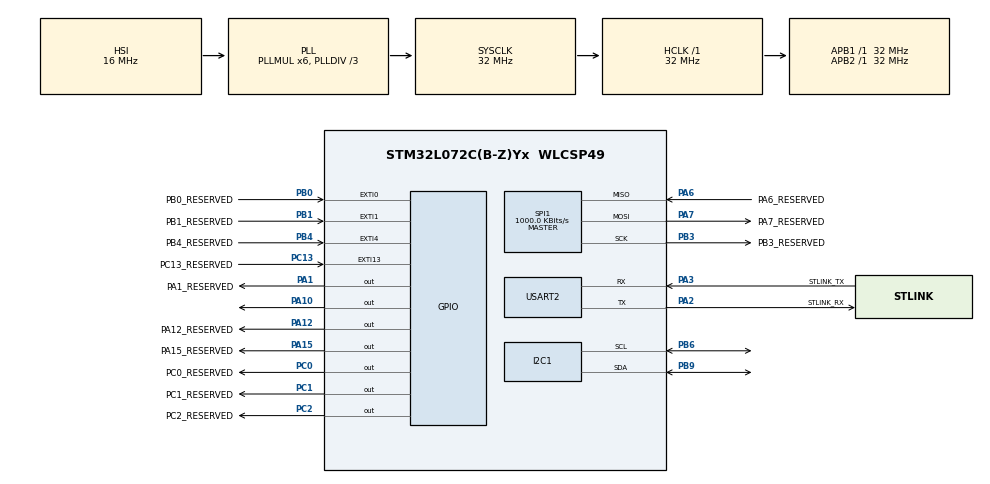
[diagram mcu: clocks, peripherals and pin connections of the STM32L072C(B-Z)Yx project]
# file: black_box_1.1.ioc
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Dma.I2C1_RX.0.Direction=DMA_PERIPH_TO_MEMORY
Dma.I2C1_RX.0.Instance=DMA1_Channel3
Dma.I2C1_RX.0.MemDataAlignment=DMA_MDATAALIGN_BYTE
Dma.I2C1_RX.0.MemInc=DMA_MINC_ENABLE
Dma.I2C1_RX.0.Mode=DMA_NORMAL
Dma.I2C1_RX.0.PeriphDataAlignment=DMA_PDATAALIGN_BYTE
Dma.I2C1_RX.0.PeriphInc=DMA_PINC_DISABLE
Dma.I2C1_RX.0.Priority=DMA_PRIORITY_MEDIUM
Dma.Request0=I2C1_RX
FREERTOS.BinarySemaphores01=sem1,Dynamic,NULL,Depleted
FREERTOS.Tasks01=calculateTask,24,512,Calculate,Default,NULL,Dynamic,NULL,NULL
I2C1.Timing=0x00B07CB4
Mcu.Family=STM32L0
Mcu.Name=STM32L072C(B-Z)Yx
Mcu.Package=WLCSP49
NVIC.DMA1_Channel2_3_IRQn=true\:3\:0\:false\:false\:true\:true\:false\:true\:true
NVIC.EXTI0_1_IRQn=true\:3\:0\:false\:false\:true\:true\:true\:true\:true
NVIC.EXTI4_15_IRQn=true\:3\:0\:false\:false\:true\:true\:true\:true\:true
NVIC.I2C1_IRQn=true\:3\:0\:false\:false\:true\:true\:true\:true\:true
NVIC.RTC_IRQn=true\:3\:0\:false\:false\:true\:true\:true\:true\:true
NVIC.TIM7_IRQn=true\:3\:0\:false\:false\:true\:false\:false\:true\:true
NVIC.TimeBase=TIM7_IRQn
NVIC.TimeBaseIP=TIM7
NVIC.USART2_IRQn=true\:3\:0\:false\:false\:true\:true\:true\:true\:true
PA1.GPIO_Label=PA1_RESERVED
PA1.GPIO_Speed=GPIO_SPEED_FREQ_HIGH
PA1.PinState=GPIO_PIN_RESET
PA1.Signal=GPIO_Output
PA10.Signal=GPIO_Output
PA12.GPIO_Label=PA12_RESERVED
PA12.GPIO_Speed=GPIO_SPEED_FREQ_HIGH
PA12.Signal=GPIO_Output
PA15.GPIO_Label=PA15_RESERVED
PA15.GPIO_Speed=GPIO_SPEED_FREQ_HIGH
PA15.Signal=GPIO_Output
PA2.GPIO_Label=STLINK_RX
PA2.Mode=Asynchronous
PA2.Signal=USART2_TX
PA3.GPIO_Label=STLINK_TX
PA3.Mode=Asynchronous
PA3.Signal=USART2_RX
PA6.GPIO_Label=PA6_RESERVED
PA6.Mode=Full_Duplex_Master
PA6.Signal=SPI1_MISO
PA7.GPIO_Label=PA7_RESERVED
PA7.Mode=Full_Duplex_Master
PA7.Signal=SPI1_MOSI
PB0.GPIO_Label=PB0_RESERVED
PB0.Signal=GPXTI0
PB1.GPIO_Label=PB1_RESERVED
PB1.Signal=GPXTI1
PB3.GPIO_Label=PB3_RESERVED
PB3.Mode=Full_Duplex_Master
PB3.Signal=SPI1_SCK
PB4.GPIO_Label=PB4_RESERVED
PB4.Signal=GPXTI4
PB6.Mode=I2C
PB6.Signal=I2C1_SCL
PB9.Mode=I2C
PB9.Signal=I2C1_SDA
PC0.GPIO_Label=PC0_RESERVED
PC0.GPIO_Speed=GPIO_SPEED_FREQ_HIGH
PC0.Signal=GPIO_Output
PC1.GPIO_Label=PC1_RESERVED
PC1.GPIO_Speed=GPIO_SPEED_FREQ_HIGH
PC1.Signal=GPIO_Output
PC13.GPIO_Label=PC13_RESERVED
PC13.Signal=GPXTI13
PC2.GPIO_Label=PC2_RESERVED
PC2.GPIO_Speed=GPIO_SPEED_FREQ_HIGH
PC2.Signal=GPIO_Output
PH0-OSC_IN.Signal=RCC_OSC_IN
PH1-OSC_OUT.Signal=RCC_OSC_OUT
ProjectManager.HeapSize=0x200
ProjectManager.StackSize=0x400
ProjectManager.TargetToolchain=STM32CubeIDE
RCC.AHBFreq_Value=32000000
RCC.APB1Freq_Value=32000000
RCC.APB1TimFreq_Value=32000000
RCC.APB2Freq_Value=32000000
RCC.APB2TimFreq_Value=32000000
RCC.HCLKFreq_Value=32000000
RCC.HSE_VALUE=8000000
RCC.HSI16_VALUE=16000000
RCC.HSI48_VALUE=48000000
RCC.HSI_VALUE=16000000
RCC.LSE_VALUE=32768
RCC.MSI_VALUE=2097000
RCC.PLLDIV=RCC_PLLDIV_3
RCC.PLLMUL=RCC_PLLMUL_6
RCC.SYSCLKFreq_VALUE=32000000
RCC.SYSCLKSource=RCC_SYSCLKSOURCE_PLLCLK
RCC.VCOOutputFreq_Value=96000000
RTC.Alarm-Alarm\ A=RTC_ALARM_A
RTC.AlarmSubSecondMask-Alarm\ A=RTC_ALARMSUBSECONDMASK_NONE
RTC.AsynchPrediv=31
RTC.Format=RTC_FORMAT_BIN
RTC.SynchPrediv=1023
SPI1.BaudRatePrescaler=SPI_BAUDRATEPRESCALER_32
SPI1.CalculateBaudRate=1000.0 KBits/s
SPI1.Direction=SPI_DIRECTION_2LINES
SPI1.Mode=SPI_MODE_MASTER
SPI1.VirtualType=VM_MASTER
USART2.VirtualMode-Asynchronous=VM_ASYNC
VP_FREERTOS_VS_CMSIS_V2.Mode=CMSIS_V2
VP_RTC_VS_RTC_Activate.Mode=RTC_Enabled
VP_RTC_VS_RTC_Alarm_A_Intern.Mode=Alarm A
VP_RTC_VS_RTC_Calendar.Mode=RTC_Calendar
VP_SYS_VS_tim7.Mode=TIM7
board=B-L072Z-LRWAN1

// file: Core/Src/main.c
/* USER CODE BEGIN Header */
/**
  ******************************************************************************
  * @file           : main.c
  * @brief          : Main program body
  ******************************************************************************
  * @attention
  *
  * Copyright (c) 2026 STMicroelectronics.
  * All rights reserved.
  *
  * This software is licensed under terms that can be found in the LICENSE file
  * in the root directory of this software component.
  * If no LICENSE file comes with this software, it is provided AS-IS.
  *
  ******************************************************************************
  */
/* USER CODE END Header */
#include "main.h"
#include "cmsis_os.h"

/* USER CODE BEGIN Includes */
#include "stdio.h"
#include "math.h"
/* USER CODE END Includes */

/* USER CODE BEGIN PD */
#define MPU6050_ADDR 0x68

#define REG_PWR_MGMT_1 0x6b
#define REG_WHO_AM_I 0x75
#define REG_ACCEL_XOUT_L  0x3c
#define REG_ACCEL_XOUT_H 0x3b
#define REG_ACCEL_YOUT_H 0x3d
#define REG_ACCEL_ZOUT_H 0x3f
#define REG_GYRO_XOUT_H 0x43
#define REG_GYRO_YOUT_H 0x45
#define REG_GYRO_ZOUT_H 0x47
/* USER CODE END PD */

I2C_HandleTypeDef hi2c1;
DMA_HandleTypeDef hdma_i2c1_rx;

RTC_HandleTypeDef hrtc;

SPI_HandleTypeDef hspi1;

UART_HandleTypeDef huart2;

/* Definitions for calculateTask */
osThreadId_t calculateTaskHandle;
const osThreadAttr_t calculateTask_attributes = {
  .name = "calculateTask",
  .stack_size = 512 * 4,
  .priority = (osPriority_t) osPriorityNormal,
};
/* Definitions for sem1 */
osSemaphoreId_t sem1Handle;
const osSemaphoreAttr_t sem1_attributes = {
  .name = "sem1"
};
/* USER CODE BEGIN PV */
uint8_t buffer[2][14];
float acc[3];
float gyro[3];
volatile int dma_read_next=0;
float ff_threshhold=0.1;
/* USER CODE END PV */

void SystemClock_Config(void);
static void MX_GPIO_Init(void);
static void MX_DMA_Init(void);
static void MX_I2C1_Init(void);
static void MX_RTC_Init(void);
static void MX_SPI1_Init(void);
static void MX_USART2_UART_Init(void);
void Calculate(void *argument);

/* USER CODE BEGIN 0 */
int _write(int file, char *ptr, int len){
	HAL_StatusTypeDef hstatus;
	hstatus = HAL_UART_Transmit(&huart2,(uint8_t *)ptr, len, HAL_MAX_DELAY);
	if(hstatus==HAL_OK)
		return len;
	else
		return -1;
}

void HAL_I2C_MemRxCpltCallback(I2C_HandleTypeDef *hi2c) {
    if (hi2c->Instance == I2C1) {
//    	printf("\nReading through DMA complete!");
    	HAL_GPIO_TogglePin(GPIOA, GPIO_PIN_10);
    	osSemaphoreRelease(sem1Handle);
    	dma_read_next = (dma_read_next==0)?1:0;
    	HAL_I2C_Mem_Read_DMA(&hi2c1, MPU6050_ADDR << 1, REG_ACCEL_XOUT_H,
    	                             1, buffer[dma_read_next], 14);
    }
}
/* USER CODE END 0 */

int main(void)
{

  /* MCU Configuration--------------------------------------------------------*/

  /* Reset of all peripherals, Initializes the Flash interface and the Systick. */
  HAL_Init();

  /* Configure the system clock */
  SystemClock_Config();

  /* Initialize all configured peripherals */
  MX_GPIO_Init();
  MX_DMA_Init();
  MX_I2C1_Init();
  MX_RTC_Init();
  MX_SPI1_Init();
  MX_USART2_UART_Init();

  /* Init scheduler */
  osKernelInitialize();

  /* Create the semaphores(s) */
  /* creation of sem1 */
  sem1Handle = osSemaphoreNew(1, 0, &sem1_attributes);

  /* Create the thread(s) */
  /* creation of calculateTask */
  calculateTaskHandle = osThreadNew(Calculate, NULL, &calculateTask_attributes);

  /* Start scheduler */
  osKernelStart();

  /* We should never get here as control is now taken by the scheduler */

  /* Infinite loop */
  while (1)
  {

  }
}

void SystemClock_Config(void)
{
  RCC_OscInitTypeDef RCC_OscInitStruct = {0};
  RCC_ClkInitTypeDef RCC_ClkInitStruct = {0};
  RCC_PeriphCLKInitTypeDef PeriphClkInit = {0};

  /** Configure the main internal regulator output voltage
  */
  __HAL_PWR_VOLTAGESCALING_CONFIG(PWR_REGULATOR_VOLTAGE_SCALE1);

  /** Initializes the RCC Oscillators according to the specified parameters
  * in the RCC_OscInitTypeDef structure.
  */
  RCC_OscInitStruct.OscillatorType = RCC_OSCILLATORTYPE_HSI|RCC_OSCILLATORTYPE_LSI;
  RCC_OscInitStruct.HSIState = RCC_HSI_ON;
  RCC_OscInitStruct.HSICalibrationValue = RCC_HSICALIBRATION_DEFAULT;
  RCC_OscInitStruct.LSIState = RCC_LSI_ON;
  RCC_OscInitStruct.PLL.PLLState = RCC_PLL_ON;
  RCC_OscInitStruct.PLL.PLLSource = RCC_PLLSOURCE_HSI;
  RCC_OscInitStruct.PLL.PLLMUL = RCC_PLLMUL_6;
  RCC_OscInitStruct.PLL.PLLDIV = RCC_PLLDIV_3;
  if (HAL_RCC_OscConfig(&RCC_OscInitStruct) != HAL_OK)
  {
    Error_Handler();
  }

  /** Initializes the CPU, AHB and APB buses clocks
  */
  RCC_ClkInitStruct.ClockType = RCC_CLOCKTYPE_HCLK|RCC_CLOCKTYPE_SYSCLK
                              |RCC_CLOCKTYPE_PCLK1|RCC_CLOCKTYPE_PCLK2;
  RCC_ClkInitStruct.SYSCLKSource = RCC_SYSCLKSOURCE_PLLCLK;
  RCC_ClkInitStruct.AHBCLKDivider = RCC_SYSCLK_DIV1;
  RCC_ClkInitStruct.APB1CLKDivider = RCC_HCLK_DIV1;
  RCC_ClkInitStruct.APB2CLKDivider = RCC_HCLK_DIV1;

  if (HAL_RCC_ClockConfig(&RCC_ClkInitStruct, FLASH_LATENCY_1) != HAL_OK)
  {
    Error_Handler();
  }
  PeriphClkInit.PeriphClockSelection = RCC_PERIPHCLK_USART2|RCC_PERIPHCLK_I2C1
                              |RCC_PERIPHCLK_RTC;
  PeriphClkInit.Usart2ClockSelection = RCC_USART2CLKSOURCE_PCLK1;
  PeriphClkInit.I2c1ClockSelection = RCC_I2C1CLKSOURCE_PCLK1;
  PeriphClkInit.RTCClockSelection = RCC_RTCCLKSOURCE_LSI;
  if (HAL_RCCEx_PeriphCLKConfig(&PeriphClkInit) != HAL_OK)
  {
    Error_Handler();
  }
}

static void MX_I2C1_Init(void)
{

  hi2c1.Instance = I2C1;
  hi2c1.Init.Timing = 0x00B07CB4;
  hi2c1.Init.OwnAddress1 = 0;
  hi2c1.Init.AddressingMode = I2C_ADDRESSINGMODE_7BIT;
  hi2c1.Init.DualAddressMode = I2C_DUALADDRESS_DISABLE;
  hi2c1.Init.OwnAddress2 = 0;
  hi2c1.Init.OwnAddress2Masks = I2C_OA2_NOMASK;
  hi2c1.Init.GeneralCallMode = I2C_GENERALCALL_DISABLE;
  hi2c1.Init.NoStretchMode = I2C_NOSTRETCH_DISABLE;
  if (HAL_I2C_Init(&hi2c1) != HAL_OK)
  {
    Error_Handler();
  }

  /** Configure Analogue filter
  */
  if (HAL_I2CEx_ConfigAnalogFilter(&hi2c1, I2C_ANALOGFILTER_ENABLE) != HAL_OK)
  {
    Error_Handler();
  }

  /** Configure Digital filter
  */
  if (HAL_I2CEx_ConfigDigitalFilter(&hi2c1, 0) != HAL_OK)
  {
    Error_Handler();
  }

}

static void MX_RTC_Init(void)
{

  RTC_TimeTypeDef sTime = {0};
  RTC_DateTypeDef sDate = {0};
  RTC_AlarmTypeDef sAlarm = {0};

  /** Initialize RTC Only
  */
  hrtc.Instance = RTC;
  hrtc.Init.HourFormat = RTC_HOURFORMAT_24;
  hrtc.Init.AsynchPrediv = 31;
  hrtc.Init.SynchPrediv = 1023;
  hrtc.Init.OutPut = RTC_OUTPUT_DISABLE;
  hrtc.Init.OutPutRemap = RTC_OUTPUT_REMAP_NONE;
  hrtc.Init.OutPutPolarity = RTC_OUTPUT_POLARITY_HIGH;
  hrtc.Init.OutPutType = RTC_OUTPUT_TYPE_OPENDRAIN;
  if (HAL_RTC_Init(&hrtc) != HAL_OK)
  {
    Error_Handler();
  }

  /** Initialize RTC and set the Time and Date
  */
  sTime.Hours = 0;
  sTime.Minutes = 0;
  sTime.Seconds = 0;
  sTime.DayLightSaving = RTC_DAYLIGHTSAVING_NONE;
  sTime.StoreOperation = RTC_STOREOPERATION_RESET;
  if (HAL_RTC_SetTime(&hrtc, &sTime, RTC_FORMAT_BIN) != HAL_OK)
  {
    Error_Handler();
  }
  sDate.WeekDay = RTC_WEEKDAY_MONDAY;
  sDate.Month = RTC_MONTH_JANUARY;
  sDate.Date = 1;
  sDate.Year = 0;

  if (HAL_RTC_SetDate(&hrtc, &sDate, RTC_FORMAT_BIN) != HAL_OK)
  {
    Error_Handler();
  }

  /** Enable the Alarm A
  */
  sAlarm.AlarmTime.Hours = 0;
  sAlarm.AlarmTime.Minutes = 0;
  sAlarm.AlarmTime.Seconds = 0;
  sAlarm.AlarmTime.SubSeconds = 0;
  sAlarm.AlarmTime.DayLightSaving = RTC_DAYLIGHTSAVING_NONE;
  sAlarm.AlarmTime.StoreOperation = RTC_STOREOPERATION_RESET;
  sAlarm.AlarmMask = RTC_ALARMMASK_NONE;
  sAlarm.AlarmSubSecondMask = RTC_ALARMSUBSECONDMASK_NONE;
  sAlarm.AlarmDateWeekDaySel = RTC_ALARMDATEWEEKDAYSEL_DATE;
  sAlarm.AlarmDateWeekDay = 1;
  sAlarm.Alarm = RTC_ALARM_A;
  if (HAL_RTC_SetAlarm_IT(&hrtc, &sAlarm, RTC_FORMAT_BIN) != HAL_OK)
  {
    Error_Handler();
  }

}

static void MX_SPI1_Init(void)
{

  /* SPI1 parameter configuration*/
  hspi1.Instance = SPI1;
  hspi1.Init.Mode = SPI_MODE_MASTER;
  hspi1.Init.Direction = SPI_DIRECTION_2LINES;
  hspi1.Init.DataSize = SPI_DATASIZE_8BIT;
  hspi1.Init.CLKPolarity = SPI_POLARITY_LOW;
  hspi1.Init.CLKPhase = SPI_PHASE_1EDGE;
  hspi1.Init.NSS = SPI_NSS_SOFT;
  hspi1.Init.BaudRatePrescaler = SPI_BAUDRATEPRESCALER_32;
  hspi1.Init.FirstBit = SPI_FIRSTBIT_MSB;
  hspi1.Init.TIMode = SPI_TIMODE_DISABLE;
  hspi1.Init.CRCCalculation = SPI_CRCCALCULATION_DISABLE;
  hspi1.Init.CRCPolynomial = 7;
  if (HAL_SPI_Init(&hspi1) != HAL_OK)
  {
    Error_Handler();
  }

}

static void MX_USART2_UART_Init(void)
{

  huart2.Instance = USART2;
  huart2.Init.BaudRate = 115200;
  huart2.Init.WordLength = UART_WORDLENGTH_8B;
  huart2.Init.StopBits = UART_STOPBITS_1;
  huart2.Init.Parity = UART_PARITY_NONE;
  huart2.Init.Mode = UART_MODE_TX_RX;
  huart2.Init.HwFlowCtl = UART_HWCONTROL_NONE;
  huart2.Init.OverSampling = UART_OVERSAMPLING_16;
  huart2.Init.OneBitSampling = UART_ONE_BIT_SAMPLE_DISABLE;
  huart2.AdvancedInit.AdvFeatureInit = UART_ADVFEATURE_NO_INIT;
  if (HAL_UART_Init(&huart2) != HAL_OK)
  {
    Error_Handler();
  }

}

static void MX_DMA_Init(void)
{

  /* DMA controller clock enable */
  __HAL_RCC_DMA1_CLK_ENABLE();

  /* DMA interrupt init */
  /* DMA1_Channel2_3_IRQn interrupt configuration */
  HAL_NVIC_SetPriority(DMA1_Channel2_3_IRQn, 3, 0);
  HAL_NVIC_EnableIRQ(DMA1_Channel2_3_IRQn);

}

static void MX_GPIO_Init(void)
{
  GPIO_InitTypeDef GPIO_InitStruct = {0};

  /* GPIO Ports Clock Enable */
  __HAL_RCC_GPIOA_CLK_ENABLE();
  __HAL_RCC_GPIOB_CLK_ENABLE();
  __HAL_RCC_GPIOC_CLK_ENABLE();
  __HAL_RCC_GPIOH_CLK_ENABLE();

  /*Configure GPIO pin Output Level */
  HAL_GPIO_WritePin(GPIOA, PA15_RESERVED_Pin|PA12_RESERVED_Pin|GPIO_PIN_10|PA1_RESERVED_Pin, GPIO_PIN_RESET);

  /*Configure GPIO pin Output Level */
  HAL_GPIO_WritePin(GPIOC, PC1_RESERVED_Pin|PC0_RESERVED_Pin|PC2_RESERVED_Pin, GPIO_PIN_RESET);

  /*Configure GPIO pins : PA15_RESERVED_Pin PA12_RESERVED_Pin PA1_RESERVED_Pin */
  GPIO_InitStruct.Pin = PA15_RESERVED_Pin|PA12_RESERVED_Pin|PA1_RESERVED_Pin;
  GPIO_InitStruct.Mode = GPIO_MODE_OUTPUT_PP;
  GPIO_InitStruct.Pull = GPIO_NOPULL;
  GPIO_InitStruct.Speed = GPIO_SPEED_FREQ_HIGH;
  HAL_GPIO_Init(GPIOA, &GPIO_InitStruct);

  /*Configure GPIO pins : PB4_RESERVED_Pin PB1_RESERVED_Pin PB0_RESERVED_Pin */
  GPIO_InitStruct.Pin = PB4_RESERVED_Pin|PB1_RESERVED_Pin|PB0_RESERVED_Pin;
  GPIO_InitStruct.Mode = GPIO_MODE_IT_RISING;
  GPIO_InitStruct.Pull = GPIO_NOPULL;
  HAL_GPIO_Init(GPIOB, &GPIO_InitStruct);

  /*Configure GPIO pin : PC13_RESERVED_Pin */
  GPIO_InitStruct.Pin = PC13_RESERVED_Pin;
  GPIO_InitStruct.Mode = GPIO_MODE_IT_RISING;
  GPIO_InitStruct.Pull = GPIO_NOPULL;
  HAL_GPIO_Init(PC13_RESERVED_GPIO_Port, &GPIO_InitStruct);

  /*Configure GPIO pin : PA10 */
  GPIO_InitStruct.Pin = GPIO_PIN_10;
  GPIO_InitStruct.Mode = GPIO_MODE_OUTPUT_PP;
  GPIO_InitStruct.Pull = GPIO_NOPULL;
  GPIO_InitStruct.Speed = GPIO_SPEED_FREQ_LOW;
  HAL_GPIO_Init(GPIOA, &GPIO_InitStruct);

  /*Configure GPIO pins : PC1_RESERVED_Pin PC0_RESERVED_Pin PC2_RESERVED_Pin */
  GPIO_InitStruct.Pin = PC1_RESERVED_Pin|PC0_RESERVED_Pin|PC2_RESERVED_Pin;
  GPIO_InitStruct.Mode = GPIO_MODE_OUTPUT_PP;
  GPIO_InitStruct.Pull = GPIO_NOPULL;
  GPIO_InitStruct.Speed = GPIO_SPEED_FREQ_HIGH;
  HAL_GPIO_Init(GPIOC, &GPIO_InitStruct);

  /* EXTI interrupt init*/
  HAL_NVIC_SetPriority(EXTI0_1_IRQn, 3, 0);
  HAL_NVIC_EnableIRQ(EXTI0_1_IRQn);

  HAL_NVIC_SetPriority(EXTI4_15_IRQn, 3, 0);
  HAL_NVIC_EnableIRQ(EXTI4_15_IRQn);

}

void Calculate(void *argument)
{
  /* USER CODE BEGIN 5 */
	uint8_t data = 0x0;
	printf("\nWaking sensor!");
	if(HAL_I2C_Mem_Write(&hi2c1,MPU6050_ADDR<<1,REG_PWR_MGMT_1,1,&data,1,2000)==HAL_OK)
		printf("\nSensor woke up!");
	else
		printf("\nSensor wake up failed!");
printf("\nStarted Calculate task...");
printf("\nStarting DMA...");
	if(HAL_I2C_Mem_Read_DMA(&hi2c1, MPU6050_ADDR<<1 , REG_ACCEL_XOUT_H, 1, buffer[dma_read_next], 14)!=HAL_OK)
	    	printf("\nDMA initiation failed!");
//	int offset=0;
	volatile int calc_read_next=0;
	float net_acc=0;
	uint8_t ff_detected=0;
	printf("\nDMA initialized!");
  /* Infinite loop */
  for(;;)
  {
//	  HAL_GPIO_TogglePin(GPIOA, GPIO_PIN_10);
//	  printf("\nWaiting for semaphore...");
	  if(osSemaphoreAcquire(sem1Handle,osWaitForever)==osOK){
//		  //Start calculation:
		  acc[0]=(((int16_t)(buffer[calc_read_next][0]<<8 | buffer[calc_read_next][1]))/16384.0);
		  acc[1]=(((int16_t)(buffer[calc_read_next][2]<<8 | buffer[calc_read_next][3]))/16384.0);
		  acc[2]=(((int16_t)(buffer[calc_read_next][4]<<8 | buffer[calc_read_next][5]))/16384.0);

		  net_acc=sqrt(acc[0]*acc[0] + acc[1]*acc[1] + acc[2]*acc[2]);
		  if(ff_detected==0){
		  printf("\nNet Accel: %f",net_acc);
		  }
		  if(net_acc<ff_threshhold){
			  printf("\n*****************Free fall detected!! ***************");
			  ff_detected=1;

		  }

//		  gyro[0]=(((int16_t)(buffer[calc_read_next][8]<<8 | buffer[calc_read_next][9]))/16384.0);
//		  gyro[1]=(((int16_t)(buffer[calc_read_next][10]<<8 | buffer[calc_read_next][11]))/16384.0);
//		  gyro[2]=(((int16_t)(buffer[calc_read_next][12]<<8 | buffer[calc_read_next][13]))/16384.0);

//		  gyro[0]=(((int16_t)(buffer[calc_read_next]<<8 | buffer[9+offset]))/16384.0);
//		  gyro[1]=(((int16_t)(buffer[calc_read_next]<<8 | buffer[11+offset]))/16384.0);
//		  gyro[2]=(((int16_t)(buffer[calc_read_next]<<8 | buffer[13+offset]))/16384.0);
////
//		printf("\n%.2f %.2f %.2f %.2f %.2f %.2f",acc[0],acc[1],acc[2], gyro[0],gyro[1],gyro[2]);
//		  		printf("\n%.2f %.2f %.2f",acc[0],acc[1],acc[2]);
//	  		printf("\n%.2f",acc[0]);
//		  printf("\n%d %d",buffer[calc_read_next][0],buffer[calc_read_next][1]);

////
////
////		  if(offset==0)offset=14;
////		  else offset=0;

	  		if(calc_read_next==0)calc_read_next=1;
	  		else calc_read_next=0;
//
//	  printf("\nExcecuted!");
	  }
//	  osDelay(1);
  }
  /* USER CODE END 5 */
}

void HAL_TIM_PeriodElapsedCallback(TIM_HandleTypeDef *htim)
{
  if (htim->Instance == TIM7)
  {
    HAL_IncTick();
  }
}

void Error_Handler(void)
{
  __disable_irq();
  while (1)
  {
  }
}
